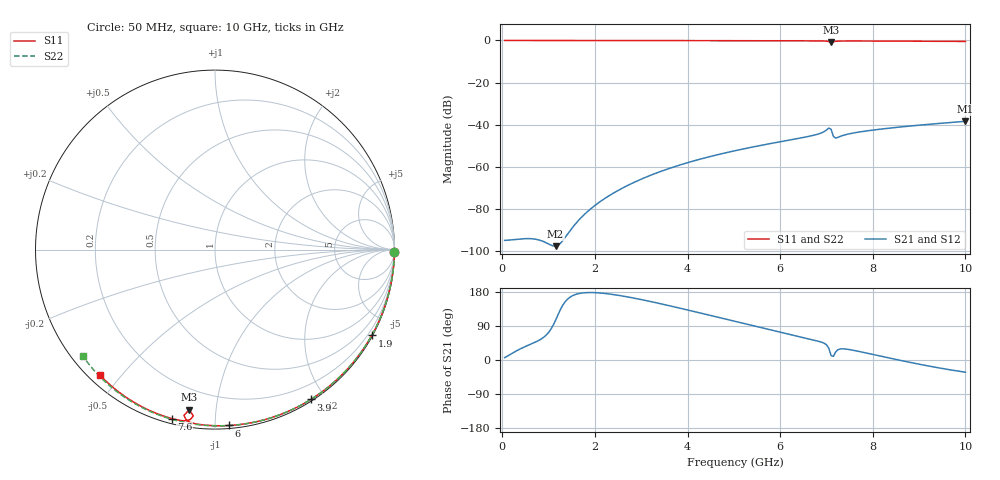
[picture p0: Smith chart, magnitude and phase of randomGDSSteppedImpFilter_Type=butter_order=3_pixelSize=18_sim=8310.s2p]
! freq	dB(S11)	phase(S11)	dB(S12)	phase(S12)
!  dB(S21)	phase(S21)	dB(S22)	phase(S22)
!S-par simulation data
#  GHz  S  DB  R 50
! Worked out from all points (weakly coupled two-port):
!   200 points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, 50 MHz to 10 GHz, reference 50 ohm
!   highest |S21| = -38.44 dB at 10 GHz (marker M1); lowest = -97.8 dB at 1.15 GHz (marker M2)
!   lowest |S11| = -0.9 dB at 7.1 GHz (marker M3), VSWR 19.83, Z = 4.34 - j42.4 ohm
!   |S11| at or under -10 dB: nowhere
!   |S22| runs from -0.5 to 0.0 dB; largest |S21 - S12| = 0
!   S11 on the Smith chart (normalised r, x): 50 MHz: open; 1.9 GHz: 0.03, -3.91; 3.9 GHz: 0.02, -1.83; 6 GHz: 0.02, -1.08; 7.6 GHz: 0.02, -0.78; 10 GHz: 0.03, -0.44
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0.05  -0.00 -0.8  -95.03 6.4  -95.03 6.4  -0.00 -0.8
1.15  -0.02 -17.5  -97.80 104.7  -97.80 104.7  -0.02 -18.6
1.75  -0.03 -26.5  -83.19 177.2  -83.19 177.2  -0.04 -28.1
1.9  -0.04 -28.7  -80.22 178.1  -80.22 178.1  -0.04 -30.5
2.25  -0.04 -33.9  -74.59 175.1  -74.59 175.1  -0.05 -36.0
2.55  -0.05 -38.2  -70.71 169.8  -70.71 169.8  -0.05 -40.6
2.95  -0.06 -44.0  -66.42 160.7  -66.42 160.7  -0.06 -46.7
3.4  -0.07 -50.4  -62.44 149.0  -62.44 149.0  -0.07 -53.5
3.9  -0.08 -57.4  -58.77 134.9  -58.77 134.9  -0.08 -60.9
4.45  -0.09 -65.0  -55.40 118.9  -55.40 118.9  -0.10 -68.8
5.05  -0.11 -73.0  -52.30 101.3  -52.30 101.3  -0.12 -77.3
6  -0.15 -85.4  -48.16 73.6  -48.16 73.6  -0.16 -90.2
6.7  -0.19 -94.5  -45.20 53.4  -45.20 53.4  -0.19 -99.5
6.9  -0.23 -97.5  -43.87 46.8  -43.87 46.8  -0.20 -102.1
7.05  -0.54 -100.6  -41.67 31.2  -41.67 31.2  -0.21 -104.0
7.1  -0.88 -99.1  -42.22 11.8  -42.22 11.8  -0.21 -104.7
7.15  -0.59 -97.4  -45.59 9.6  -45.59 9.6  -0.22 -105.3
7.2  -0.38 -98.3  -46.42 21.6  -46.42 21.6  -0.22 -106.0
7.4  -0.25 -101.7  -44.87 29.1  -44.87 29.1  -0.24 -108.5
7.6  -0.25 -104.4  -43.93 25.1  -43.93 25.1  -0.25 -111.1
8.35  -0.30 -113.6  -41.71 5.4  -41.71 5.4  -0.31 -120.5
10  -0.46 -132.7  -38.44 -32.2  -38.44 -32.2  -0.49 -141.2
